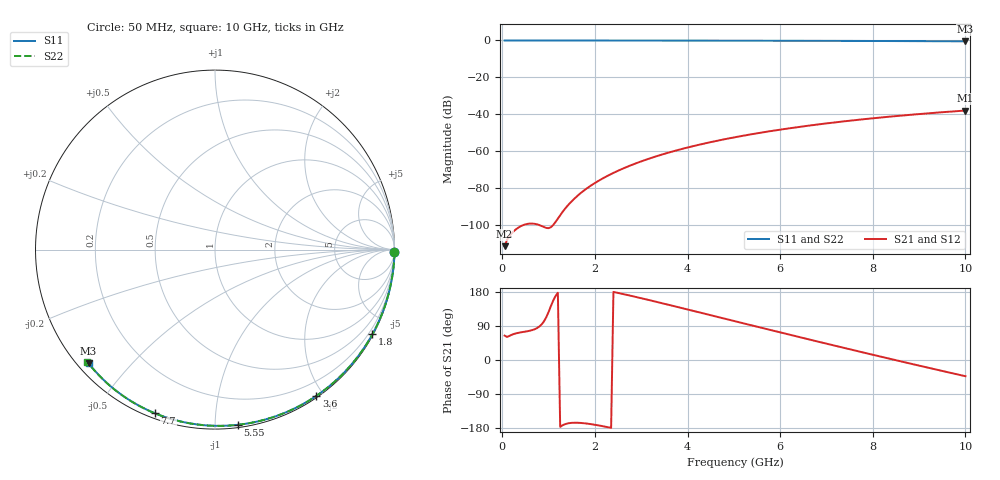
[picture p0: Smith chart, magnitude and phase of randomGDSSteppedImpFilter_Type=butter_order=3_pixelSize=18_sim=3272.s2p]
! freq	dB(S11)	phase(S11)	dB(S12)	phase(S12)
!  dB(S21)	phase(S21)	dB(S22)	phase(S22)
!S-par simulation data
#  GHz  S  DB  R 50
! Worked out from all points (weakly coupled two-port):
!   200 points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, 50 MHz to 10 GHz, reference 50 ohm
!   highest |S21| = -37.93 dB at 10 GHz (marker M1); lowest = -111.4 dB at 50 MHz (marker M2)
!   lowest |S11| = -0.5 dB at 10 GHz (marker M3), VSWR 36.79, Z = 1.56 - j19.2 ohm
!   |S11| at or under -10 dB: nowhere
!   |S22| runs from -0.5 to 0.0 dB; largest |S21 - S12| = 0
!   S11 on the Smith chart (normalised r, x): 50 MHz: open; 1.8 GHz: 0.03, -3.96; 3.6 GHz: 0.02, -1.91; 5.55 GHz: 0.02, -1.14; 7.7 GHz: 0.02, -0.70; 10 GHz: 0.03, -0.38
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0.05  -0.00 -0.8  -111.36 64.3  -111.36 64.3  -0.00 -0.8
0.45  -0.01 -7.2  -99.97 74.0  -99.97 74.0  -0.01 -7.2
0.9  -0.02 -14.3  -101.02 102.1  -101.02 102.1  -0.02 -14.4
1.75  -0.04 -27.5  -81.49 -166.7  -81.49 -166.7  -0.04 -27.7
1.8  -0.04 -28.3  -80.54 -167.4  -80.54 -167.4  -0.04 -28.5
1.85  -0.04 -29.1  -79.64 -168.1  -79.64 -168.1  -0.04 -29.2
2.05  -0.04 -32.2  -76.39 -172.0  -76.39 -172.0  -0.04 -32.3
2.25  -0.05 -35.2  -73.57 -176.6  -73.57 -176.6  -0.05 -35.4
2.55  -0.05 -39.8  -69.95 175.7  -69.95 175.7  -0.05 -40.0
2.95  -0.06 -45.7  -65.91 164.5  -65.91 164.5  -0.06 -46.0
3.4  -0.07 -52.4  -62.12 151.4  -62.12 151.4  -0.07 -52.6
3.6  -0.07 -55.3  -60.63 145.4  -60.63 145.4  -0.07 -55.6
3.9  -0.08 -59.6  -58.59 136.4  -58.59 136.4  -0.08 -59.9
4.3  -0.09 -65.3  -56.15 124.3  -56.15 124.3  -0.09 -65.6
5.05  -0.12 -75.8  -52.26 101.6  -52.26 101.6  -0.12 -76.1
5.55  -0.14 -82.5  -50.06 86.4  -50.06 86.4  -0.14 -82.9
6.1  -0.16 -89.8  -47.91 69.9  -47.91 69.9  -0.16 -90.2
6.7  -0.19 -97.6  -45.84 52.0  -45.84 52.0  -0.19 -98.0
7.7  -0.25 -110.2  -42.91 22.5  -42.91 22.5  -0.25 -110.7
8.35  -0.30 -118.1  -41.28 3.7  -41.28 3.7  -0.30 -118.7
9.2  -0.38 -128.4  -39.43 -20.5  -39.43 -20.5  -0.38 -129.0
10  -0.47 -138.0  -37.93 -42.8  -37.93 -42.8  -0.47 -138.7
